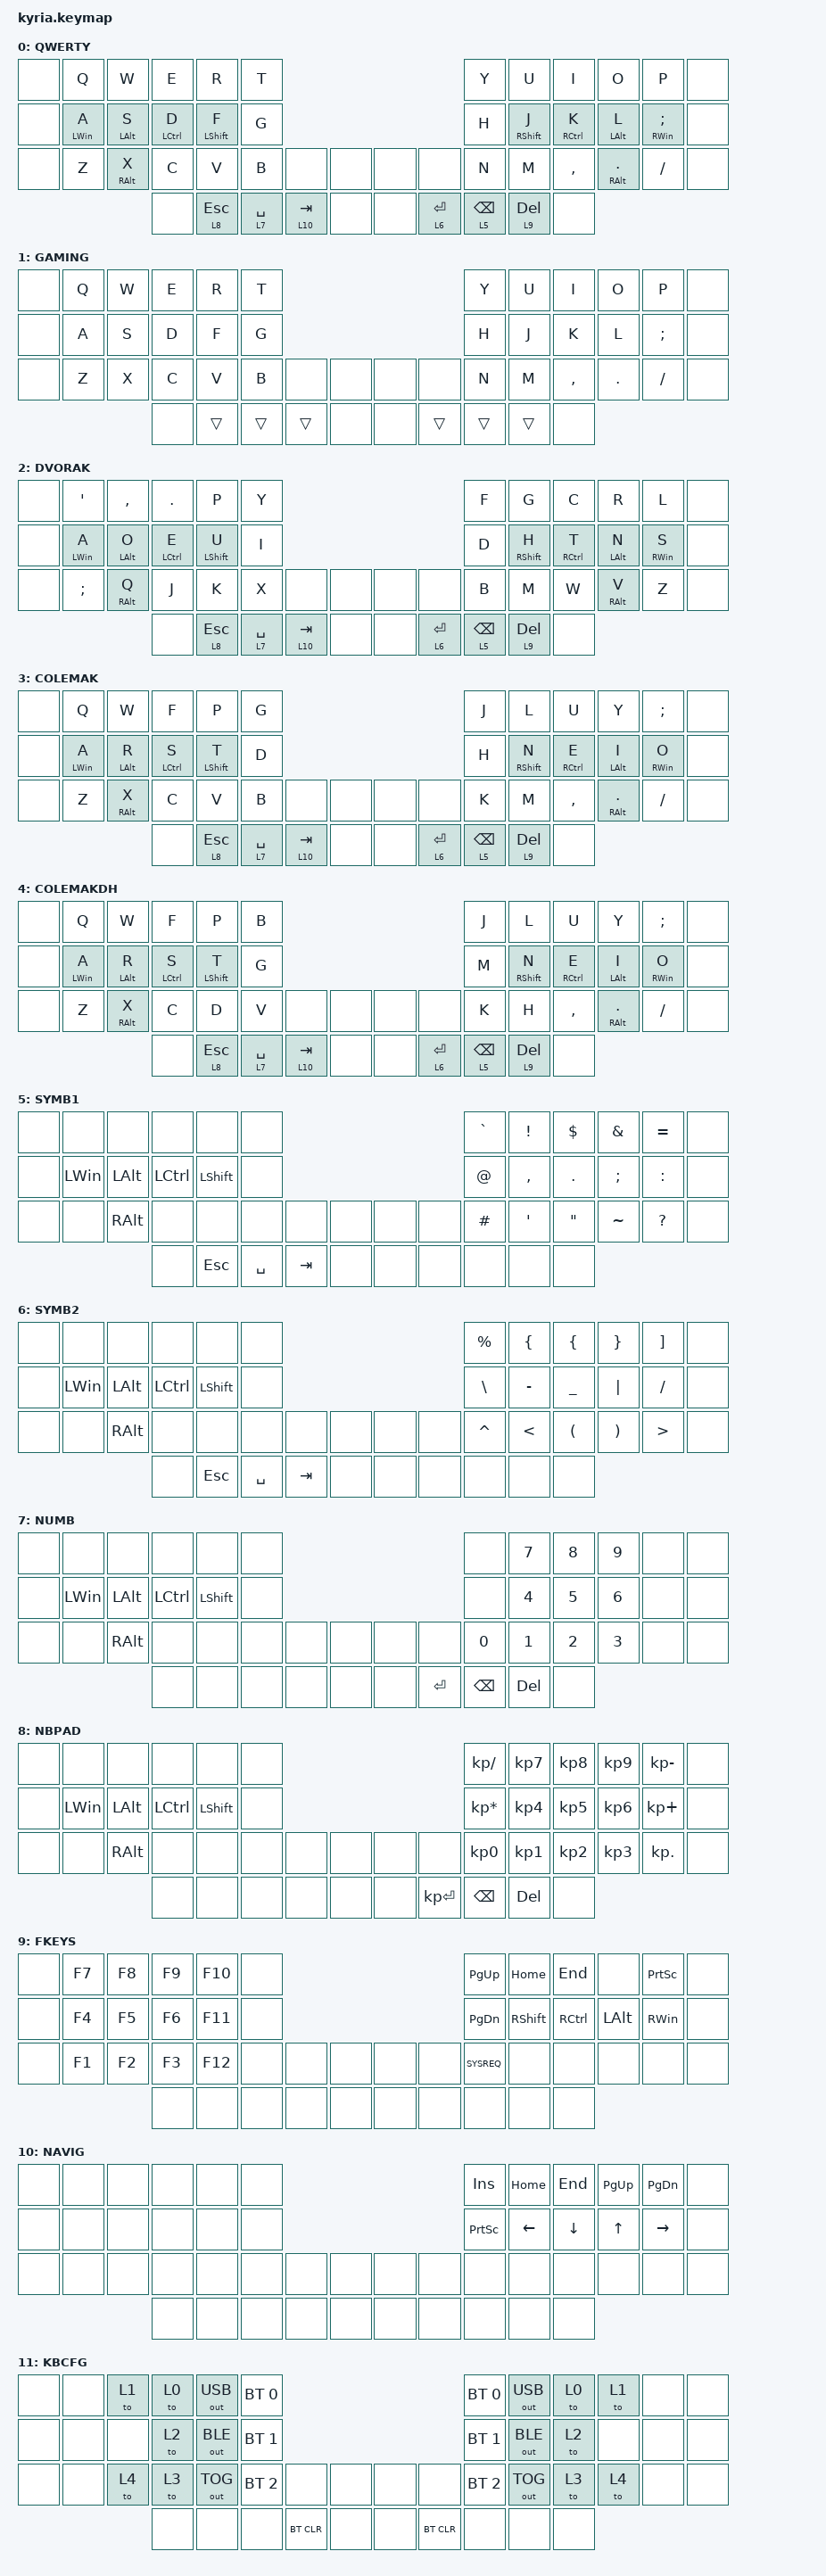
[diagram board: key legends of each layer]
/*
 * Copyright (c) 2020 The ZMK Contributors
 *
 * SPDX-License-Identifier: MIT
 */

#include <behaviors.dtsi>
#include <dt-bindings/zmk/bt.h>
#include <dt-bindings/zmk/keys.h>
#include <dt-bindings/zmk/outputs.h>

/ {
    combos {
        compatible = "zmk,combos";

        SettingsL {
            bindings = <&mo 11>;
            key-positions = <41 42>;
            timeout-ms = <50>;
        };

        SettingsR {
            bindings = <&mo 11>;
            key-positions = <48 47>;
            timeout-ms = <50>;
        };
    };

    behaviors {
        hm: hm {
            compatible = "zmk,behavior-hold-tap";
            bindings = <&kp>, <&kp>;

            #binding-cells = <2>;
            tapping-term-ms = <220>;
        };
    };

    keymap {
        compatible = "zmk,keymap";

        QWERTY {
            display-name = "QWERTY";
            bindings = <
&none  &kp Q       &kp W       &kp E        &kp R         &kp T                                                &kp Y       &kp U         &kp I        &kp O         &kp P          &none
&none  &hm LWIN A  &hm LALT S  &hm LCTRL D  &hm LSHFT F   &kp G                                                &kp H       &hm RSHIFT J  &hm RCTRL K  &hm LALT L    &hm RWIN SEMI  &none
&none  &kp Z       &hm RALT X  &kp C        &kp V         &kp B        &none       &none  &none  &none         &kp N       &kp M         &kp COMMA    &hm RALT DOT  &kp FSLH       &none
                               &none        &lt 8 ESCAPE  &lt 7 SPACE  &lt 10 TAB  &none  &none  &lt 6 RETURN  &lt 5 BSPC  &lt 9 DEL     &none
            >;
        };

        GAMING {
            display-name = "GAMING";
            bindings = <
&none  &kp Q  &kp W  &kp E  &kp R   &kp T                                 &kp Y   &kp U   &kp I      &kp O    &kp P     &none
&none  &kp A  &kp S  &kp D  &kp F   &kp G                                 &kp H   &kp J   &kp K      &kp L    &kp SEMI  &none
&none  &kp Z  &kp X  &kp C  &kp V   &kp B   &none   &none  &none  &none   &kp N   &kp M   &kp COMMA  &kp DOT  &kp FSLH  &none
                     &none  &trans  &trans  &trans  &none  &none  &trans  &trans  &trans  &none
            >;
        };

        DVORAK {
            display-name = "DVORAK";
            bindings = <
&none  &kp APOS    &kp COMMA   &kp DOT      &kp P         &kp Y                                                &kp F       &kp G         &kp C        &kp R       &kp L       &none
&none  &hm LWIN A  &hm LALT O  &hm LCTRL E  &hm LSHFT U   &kp I                                                &kp D       &hm RSHIFT H  &hm RCTRL T  &hm LALT N  &hm RWIN S  &none
&none  &kp SEMI    &hm RALT Q  &kp J        &kp K         &kp X        &none       &none  &none  &none         &kp B       &kp M         &kp W        &hm RALT V  &kp Z       &none
                               &none        &lt 8 ESCAPE  &lt 7 SPACE  &lt 10 TAB  &none  &none  &lt 6 RETURN  &lt 5 BSPC  &lt 9 DEL     &none
            >;
        };

        COLEMAK {
            display-name = "COLEMAK";
            bindings = <
&none  &kp Q       &kp W       &kp F        &kp P        &kp G                                                &kp J       &kp L         &kp U        &kp Y         &kp SEMI    &none
&none  &hm LWIN A  &hm LALT R  &hm LCTRL S  &hm LSHFT T  &kp D                                                &kp H       &hm RSHIFT N  &hm RCTRL E  &hm LALT I    &hm RWIN O  &none
&none  &kp Z       &hm RALT X  &kp C        &kp V        &kp B        &none       &none  &none  &none         &kp K       &kp M         &kp COMMA    &hm RALT DOT  &kp FSLH    &none
                               &none        &lt 8 ESC    &lt 7 SPACE  &lt 10 TAB  &none  &none  &lt 6 RETURN  &lt 5 BSPC  &lt 9 DEL     &none
            >;
        };

        COLEMAKDH {
            display-name = "COLEMAKDH";
            bindings = <
&none  &kp Q       &kp W       &kp F        &kp P        &kp B                                                &kp J       &kp L         &kp U        &kp Y         &kp SEMI    &none
&none  &hm LWIN A  &hm LALT R  &hm LCTRL S  &hm LSHFT T  &kp G                                                &kp M       &hm RSHIFT N  &hm RCTRL E  &hm LALT I    &hm RWIN O  &none
&none  &kp Z       &hm RALT X  &kp C        &kp D        &kp V        &none       &none  &none  &none         &kp K       &kp H         &kp COMMA    &hm RALT DOT  &kp FSLH    &none
                               &none        &lt 8 ESC    &lt 7 SPACE  &lt 10 TAB  &none  &none  &lt 6 RETURN  &lt 5 BSPC  &lt 9 DEL     &none
            >;
        };

        SYMBOLS1 {
            display-name = "SYMB1";
            bindings = <
&none  &none     &none     &none      &none       &none                                    &kp GRAVE    &kp EXCLAMATION  &kp DOLLAR         &kp AMPERSAND  &kp EQUAL     &none
&none  &kp LWIN  &kp LALT  &kp LCTRL  &kp LSHIFT  &none                                    &kp AT_SIGN  &kp COMMA        &kp DOT            &kp SEMI       &kp COLON     &none
&none  &none     &kp RALT  &none      &none       &none      &none    &none  &none  &none  &kp POUND    &kp SQT          &kp DOUBLE_QUOTES  &kp TILDE      &kp QUESTION  &none
                           &none      &kp ESC     &kp SPACE  &kp TAB  &none  &none  &none  &none        &none            &none
            >;
        };

        SYMBOLS2 {
            display-name = "SYMB2";
            bindings = <
&none  &none     &none     &none      &none       &none                                    &kp PERCENT    &kp LEFT_BRACE  &kp LEFT_BRACE        &kp RIGHT_BRACE        &kp RBKT          &none
&none  &kp LWIN  &kp LALT  &kp LCTRL  &kp LSHIFT  &none                                    &kp BACKSLASH  &kp MINUS       &kp UNDERSCORE        &kp PIPE               &kp SLASH         &none
&none  &none     &kp RALT  &none      &none       &none      &none    &none  &none  &none  &kp CARET      &kp LESS_THAN   &kp LEFT_PARENTHESIS  &kp RIGHT_PARENTHESIS  &kp GREATER_THAN  &none
                           &none      &kp ESC     &kp SPACE  &kp TAB  &none  &none  &none  &none          &none           &none
            >;
        };

        NUMBERS {
            display-name = "NUMB";
            bindings = <
&none  &none     &none     &none      &none       &none                                  &none     &kp N7   &kp N8  &kp N9  &none  &none
&none  &kp LWIN  &kp LALT  &kp LCTRL  &kp LSHIFT  &none                                  &none     &kp N4   &kp N5  &kp N6  &none  &none
&none  &none     &kp RALT  &none      &none       &none  &none  &none  &none  &none      &kp N0    &kp N1   &kp N2  &kp N3  &none  &none
                           &none      &none       &none  &none  &none  &none  &kp ENTER  &kp BSPC  &kp DEL  &none
            >;
        };

        NUMPAD {
            display-name = "NBPAD";
            bindings = <
&none  &none     &none     &none      &none       &none                                     &kp KP_SLASH     &kp KP_NUMBER_7  &kp KP_NUMBER_8  &kp KP_N9        &kp KP_MINUS  &none
&none  &kp LWIN  &kp LALT  &kp LCTRL  &kp LSHIFT  &none                                     &kp KP_MULTIPLY  &kp KP_NUMBER_4  &kp KP_NUMBER_5  &kp KP_NUMBER_6  &kp KP_PLUS   &none
&none  &none     &kp RALT  &none      &none       &none  &none  &none  &none  &none         &kp KP_N0        &kp KP_N1        &kp KP_N2        &kp KP_N3        &kp KP_DOT    &none
                           &none      &none       &none  &none  &none  &none  &kp KP_ENTER  &kp BSPC         &kp DEL          &none
            >;
        };

        FUNCTIONS {
            display-name = "FKEYS";
            bindings = <
&none  &kp F7  &kp F8  &kp F9  &kp F10  &none                              &kp PG_UP   &kp HOME    &kp END    &none     &kp PRINTSCREEN  &none
&none  &kp F4  &kp F5  &kp F6  &kp F11  &none                              &kp PG_DN   &kp RSHIFT  &kp RCTRL  &kp LALT  &kp RWIN         &none
&none  &kp F1  &kp F2  &kp F3  &kp F12  &none  &none  &none  &none  &none  &kp SYSREQ  &none       &none      &none     &none            &none
                       &none   &none    &none  &none  &none  &none  &none  &none       &none       &none
            >;
        };

        NAVIGATION {
            display-name = "NAVIG";
            bindings = <
&none  &none  &none  &none  &none  &none                              &kp INSERT  &kp HOME  &kp END   &kp PG_UP  &kp PG_DN  &none
&none  &none  &none  &none  &none  &none                              &kp PSCRN   &kp LEFT  &kp DOWN  &kp UP     &kp RIGHT  &none
&none  &none  &none  &none  &none  &none  &none  &none  &none  &none  &none       &none     &none     &none      &none      &none
                     &none  &none  &none  &none  &none  &none  &none  &none       &none     &none
            >;
        };

        SETTINGS {
            display-name = "KBCFG";
            bindings = <
&none  &none  &to 1  &to 0  &out OUT_USB  &bt BT_SEL 0                                        &bt BT_SEL 0  &out OUT_USB  &to 0  &to 1  &none  &none
&none  &none  &none  &to 2  &out OUT_BLE  &bt BT_SEL 1                                        &bt BT_SEL 1  &out OUT_BLE  &to 2  &none  &none  &none
&none  &none  &to 4  &to 3  &out OUT_TOG  &bt BT_SEL 2  &none       &none  &none  &none       &bt BT_SEL 2  &out OUT_TOG  &to 3  &to 4  &none  &none
                     &none  &none         &none         &bt BT_CLR  &none  &none  &bt BT_CLR  &none         &none         &none
            >;
        };
    };
};
